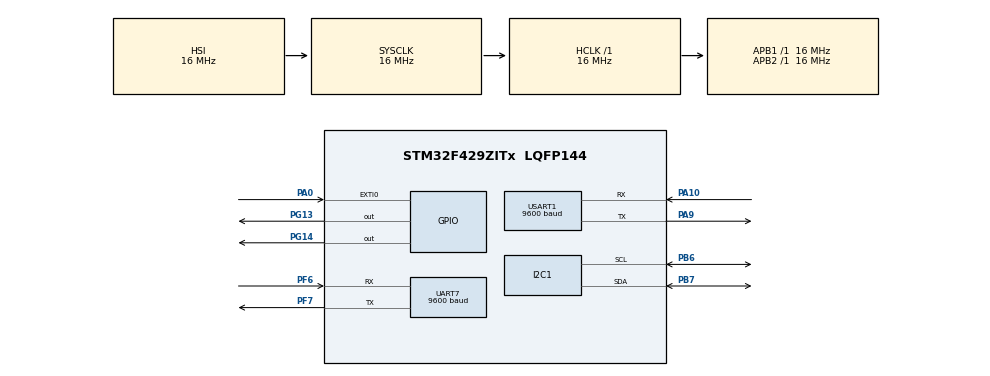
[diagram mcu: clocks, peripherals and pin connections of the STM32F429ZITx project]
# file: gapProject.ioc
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Mcu.Family=STM32F4
Mcu.Name=STM32F429ZITx
Mcu.Package=LQFP144
NVIC.EXTI0_IRQn=true\:14\:0\:true\:false\:true\:true\:true\:true
NVIC.PriorityGroup=NVIC_PRIORITYGROUP_4
NVIC.UART7_IRQn=true\:15\:0\:true\:false\:true\:true\:true\:true
PA0/WKUP.Signal=GPXTI0
PA10.Mode=Asynchronous
PA10.Signal=USART1_RX
PA9.Mode=Asynchronous
PA9.Signal=USART1_TX
PB6.Mode=I2C
PB6.Signal=I2C1_SCL
PB7.Mode=I2C
PB7.Signal=I2C1_SDA
PF6.Mode=Asynchronous
PF6.Signal=UART7_RX
PF7.Mode=Asynchronous
PF7.Signal=UART7_TX
PG13.Signal=GPIO_Output
PG14.Signal=GPIO_Output
ProjectManager.HeapSize=0x200
ProjectManager.StackSize=0x400
ProjectManager.TargetToolchain=STM32CubeIDE
RCC.AHBFreq_Value=16000000
RCC.APB1Freq_Value=16000000
RCC.APB2Freq_Value=16000000
RCC.CortexFreq_Value=16000000
RCC.HSE_VALUE=25000000
RCC.HSI_VALUE=16000000
RCC.LSE_VALUE=32768
RCC.SYSCLKFreq_VALUE=16000000
RCC.VCOOutputFreq_Value=192000000
UART7.BaudRate=9600
UART7.Parity=PARITY_EVEN
UART7.VirtualMode=Asynchronous
UART7.WordLength=WORDLENGTH_9B
USART1.BaudRate=9600
USART1.Parity=PARITY_EVEN
USART1.VirtualMode=VM_ASYNC
USART1.WordLength=WORDLENGTH_9B
board=custom

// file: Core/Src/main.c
/* USER CODE BEGIN Header */
/**
 ******************************************************************************
 * @file           : main.c
 * @brief          : Main program body
 ******************************************************************************
 * @attention
 *
 * Copyright (c) 2025 STMicroelectronics.
 * All rights reserved.
 *
 * This software is licensed under terms that can be found in the LICENSE file
 * in the root directory of this software component.
 * If no LICENSE file comes with this software, it is provided AS-IS.
 *
 ******************************************************************************
 */
/* USER CODE END Header */
#include "main.h"

/* USER CODE BEGIN Includes */
#include <gapcom/gapcom.h>
#include <gapcom/gapcom_server.h>
#include <communicator.h>
#include <communicator_impl_server.h>
#include <gap.pb.h>
#include <gapcom_core.h>

#include "utils.h"
#include "callbacks.h"
#include "logger.h"
#include "mpu6050.h"
#include "version.h"
/* USER CODE END Includes */

I2C_HandleTypeDef hi2c1;

UART_HandleTypeDef huart7;
UART_HandleTypeDef huart1;

/* USER CODE BEGIN PV */
log_level global_level = LOG_INFO;

static gapcom_handle_t *handle;
static communicator_t *communicator;

uint8_t RX_Buffer[GAPCOM_RECVBUF_SIZE];
static int protobuf_len = -1; // -1 means no header received, else it's the protocol buffer length
/* USER CODE END PV */

void SystemClock_Config(void);
static void MX_GPIO_Init(void);
static void MX_UART7_Init(void);
static void MX_USART1_UART_Init(void);
static void MX_I2C1_Init(void);

/* USER CODE BEGIN 0 */
static void UART_RXComplete(UART_HandleTypeDef *huart) {
	// cppcheck warn about the argument because it can be const
	// but we do not write it to follow HAL callback signature
	if (huart != &huart7) {
		return;
	}

	// TinyFrame header received, decode it to extract protocol buffer length
	if (protobuf_len == -1) {
		// Extract len
		protobuf_len = get_protobuf_len((uint8_t*) RX_Buffer);
		if (protobuf_len == 0) // No body means no data checksum
			goto accept;

		communicator->recv(communicator,
				(uint8_t*) (RX_Buffer + GAPCOM_TF_HEADER_SIZE_BYTES),
				(size_t) (protobuf_len + GAPCOM_TF_FOOTER_SIZE_BYTES));
	}
	// Protocol buffer and data checksum received
	else {
		accept:

		// Body + Data checksum received, we can call accept
		if (protobuf_len == 0) {
			gapcom_accept(handle, (uint8_t*) RX_Buffer,
			GAPCOM_TF_HEADER_SIZE_BYTES);
		} else {
			gapcom_accept(handle, (uint8_t*) RX_Buffer,
					(size_t) (GAPCOM_TF_HEADER_SIZE_BYTES + protobuf_len
							+ GAPCOM_TF_FOOTER_SIZE_BYTES));
		}
		protobuf_len = -1;

		// Receive next header
		communicator->recv(communicator, (uint8_t*) RX_Buffer,
		GAPCOM_TF_HEADER_SIZE_BYTES);
	}
}

// cppcheck-suppress unusedFunction
void HAL_GPIO_EXTI_Callback(uint16_t GPIO_Pin) {
	if (GPIO_Pin == GPIO_PIN_0) {
		MPU6050_Handle_FIFO_Overflow();
	}
}

static int register_HAL_UART_Callback() {
	HAL_StatusTypeDef status;

	// Flash a green LED when a UART7 transmission is complete
	status = HAL_UART_RegisterCallback(&huart7, HAL_UART_TX_COMPLETE_CB_ID,
			flash_led_tx_complete);
	if (status != HAL_OK) {
		flash_red_led();
		return 1;
	}

	// Flash a red LED when a UART7 communication got an error
	status = HAL_UART_RegisterCallback(&huart7, HAL_UART_ERROR_CB_ID,
			flash_red_led);
	if (status != HAL_OK) {
		flash_red_led();
		return 1;
	}
	return 0;
}
/* USER CODE END 0 */

int main(void) {

	/* USER CODE BEGIN 1 */
	GyroData gyro_data;
	/* USER CODE END 1 */

	/* MCU Configuration--------------------------------------------------------*/

	/* Reset of all peripherals, Initializes the Flash interface and the Systick. */
	HAL_Init();

	/* Configure the system clock */
	SystemClock_Config();

	/* Initialize all configured peripherals */
	MX_GPIO_Init();
	MX_UART7_Init();
	MX_USART1_UART_Init();
	MX_I2C1_Init();
	/* USER CODE BEGIN 2 */

	// Register basic UART7 callback to flash LED on message transmission
	register_HAL_UART_Callback();
	// Register UART7 RX complete callback
	HAL_UART_RegisterCallback(&huart7, HAL_UART_RX_COMPLETE_CB_ID,
			UART_RXComplete);

	// Init Gapcom
	handle = gapcom_create();
	communicator = communicator_impl_server_get();
	gapcom_set_sender_impl(handle, (gapcom_sender_t*) communicator);

	// Register Gapcom callback
	gapcom_install_callback(handle, &ping_callback, GAPCOM_MSG_PING_REQ);
	gapcom_install_callback(handle, &set_log_verbosity_callback,
			GAPCOM_MSG_SET_LOG_VERBOSITY_REQ);
	gapcom_install_callback(handle, &set_gyroscope_callback,
			GAPCOM_MSG_SET_GYROSCOPE_REQ);
	gapcom_install_callback(handle, &set_version_callback,
			GAPCOM_MSG_SET_VERSION_REQ);
	gapcom_install_callback(handle, &get_version_callback,
			GAPCOM_MSG_GET_VERSION_REQ);

	// Receive first header
	communicator->recv(communicator, (uint8_t*) RX_Buffer,
	GAPCOM_TF_HEADER_SIZE_BYTES);

	gap_log(LOG_INFO, "GAP system booted");
	/* USER CODE END 2 */

	/* Infinite loop */
	/* USER CODE BEGIN WHILE */
	while (1) {
		if (MPU6050_GetData(&gyro_data) == HAL_OK) {
			gap_log_gyro(&gyro_data);
		}
		/* USER CODE END WHILE */

	}
}

void SystemClock_Config(void) {
	RCC_OscInitTypeDef RCC_OscInitStruct = { 0 };
	RCC_ClkInitTypeDef RCC_ClkInitStruct = { 0 };

	/** Configure the main internal regulator output voltage
	 */
	__HAL_RCC_PWR_CLK_ENABLE();
	__HAL_PWR_VOLTAGESCALING_CONFIG(PWR_REGULATOR_VOLTAGE_SCALE3);

	/** Initializes the RCC Oscillators according to the specified parameters
	 * in the RCC_OscInitTypeDef structure.
	 */
	RCC_OscInitStruct.OscillatorType = RCC_OSCILLATORTYPE_HSI;
	RCC_OscInitStruct.HSIState = RCC_HSI_ON;
	RCC_OscInitStruct.HSICalibrationValue = RCC_HSICALIBRATION_DEFAULT;
	RCC_OscInitStruct.PLL.PLLState = RCC_PLL_NONE;
	if (HAL_RCC_OscConfig(&RCC_OscInitStruct) != HAL_OK) {
		Error_Handler();
	}

	/** Initializes the CPU, AHB and APB buses clocks
	 */
	RCC_ClkInitStruct.ClockType = RCC_CLOCKTYPE_HCLK | RCC_CLOCKTYPE_SYSCLK
			| RCC_CLOCKTYPE_PCLK1 | RCC_CLOCKTYPE_PCLK2;
	RCC_ClkInitStruct.SYSCLKSource = RCC_SYSCLKSOURCE_HSI;
	RCC_ClkInitStruct.AHBCLKDivider = RCC_SYSCLK_DIV1;
	RCC_ClkInitStruct.APB1CLKDivider = RCC_HCLK_DIV1;
	RCC_ClkInitStruct.APB2CLKDivider = RCC_HCLK_DIV1;

	if (HAL_RCC_ClockConfig(&RCC_ClkInitStruct, FLASH_LATENCY_0) != HAL_OK) {
		Error_Handler();
	}
}

static void MX_I2C1_Init(void) {

	hi2c1.Instance = I2C1;
	hi2c1.Init.ClockSpeed = 100000;
	hi2c1.Init.DutyCycle = I2C_DUTYCYCLE_2;
	hi2c1.Init.OwnAddress1 = 0;
	hi2c1.Init.AddressingMode = I2C_ADDRESSINGMODE_7BIT;
	hi2c1.Init.DualAddressMode = I2C_DUALADDRESS_DISABLE;
	hi2c1.Init.OwnAddress2 = 0;
	hi2c1.Init.GeneralCallMode = I2C_GENERALCALL_DISABLE;
	hi2c1.Init.NoStretchMode = I2C_NOSTRETCH_DISABLE;
	if (HAL_I2C_Init(&hi2c1) != HAL_OK) {
		Error_Handler();
	}

	/** Configure Analogue filter
	 */
	if (HAL_I2CEx_ConfigAnalogFilter(&hi2c1, I2C_ANALOGFILTER_ENABLE)
			!= HAL_OK) {
		Error_Handler();
	}

	/** Configure Digital filter
	 */
	if (HAL_I2CEx_ConfigDigitalFilter(&hi2c1, 0) != HAL_OK) {
		Error_Handler();
	}

}

static void MX_UART7_Init(void) {

	huart7.Instance = UART7;
	huart7.Init.BaudRate = 9600;
	huart7.Init.WordLength = UART_WORDLENGTH_9B;
	huart7.Init.StopBits = UART_STOPBITS_1;
	huart7.Init.Parity = UART_PARITY_EVEN;
	huart7.Init.Mode = UART_MODE_TX_RX;
	huart7.Init.HwFlowCtl = UART_HWCONTROL_NONE;
	huart7.Init.OverSampling = UART_OVERSAMPLING_16;
	if (HAL_UART_Init(&huart7) != HAL_OK) {
		Error_Handler();
	}

}

static void MX_USART1_UART_Init(void) {

	huart1.Instance = USART1;
	huart1.Init.BaudRate = 9600;
	huart1.Init.WordLength = UART_WORDLENGTH_9B;
	huart1.Init.StopBits = UART_STOPBITS_1;
	huart1.Init.Parity = UART_PARITY_EVEN;
	huart1.Init.Mode = UART_MODE_TX_RX;
	huart1.Init.HwFlowCtl = UART_HWCONTROL_NONE;
	huart1.Init.OverSampling = UART_OVERSAMPLING_16;
	if (HAL_UART_Init(&huart1) != HAL_OK) {
		Error_Handler();
	}

}

static void MX_GPIO_Init(void) {
	GPIO_InitTypeDef GPIO_InitStruct = { 0 };

	/* GPIO Ports Clock Enable */
	__HAL_RCC_GPIOF_CLK_ENABLE();
	__HAL_RCC_GPIOA_CLK_ENABLE();
	__HAL_RCC_GPIOG_CLK_ENABLE();
	__HAL_RCC_GPIOB_CLK_ENABLE();

	/*Configure GPIO pin Output Level */
	HAL_GPIO_WritePin(GPIOG, GPIO_PIN_13 | GPIO_PIN_14, GPIO_PIN_RESET);

	/*Configure GPIO pin : PA0 */
	GPIO_InitStruct.Pin = GPIO_PIN_0;
	GPIO_InitStruct.Mode = GPIO_MODE_IT_RISING;
	GPIO_InitStruct.Pull = GPIO_NOPULL;
	HAL_GPIO_Init(GPIOA, &GPIO_InitStruct);

	/*Configure GPIO pins : PG13 PG14 */
	GPIO_InitStruct.Pin = GPIO_PIN_13 | GPIO_PIN_14;
	GPIO_InitStruct.Mode = GPIO_MODE_OUTPUT_PP;
	GPIO_InitStruct.Pull = GPIO_NOPULL;
	GPIO_InitStruct.Speed = GPIO_SPEED_FREQ_LOW;
	HAL_GPIO_Init(GPIOG, &GPIO_InitStruct);

	/* EXTI interrupt init*/
	HAL_NVIC_SetPriority(EXTI0_IRQn, 14, 0);
	HAL_NVIC_EnableIRQ(EXTI0_IRQn);

}

void Error_Handler(void) {
	__disable_irq();
	while (1) {
	}
}
